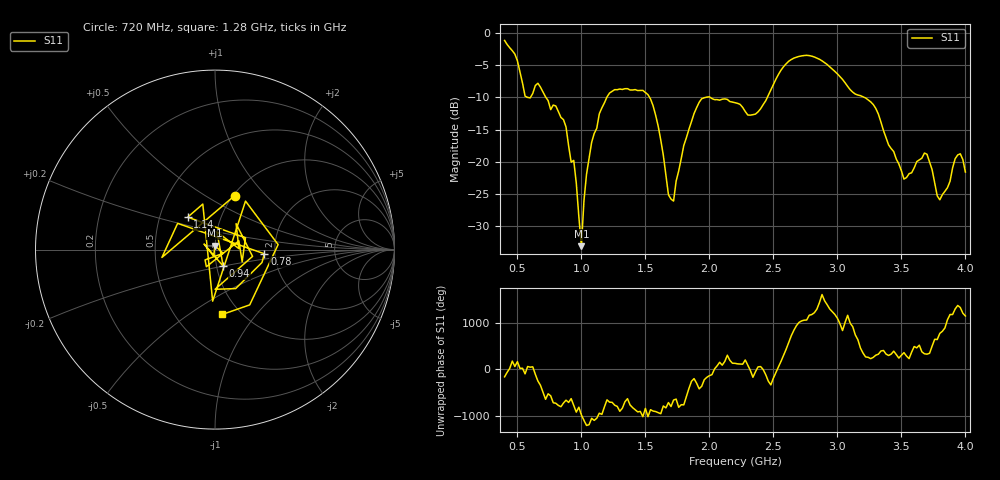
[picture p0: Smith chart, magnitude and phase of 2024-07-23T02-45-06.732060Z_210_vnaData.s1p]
!Created with skrf (http://scikit-rf.org).
# Hz S RI R 50.0
!freq ReS11 ImS11
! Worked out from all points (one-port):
!   181 points, 400 MHz to 4 GHz, reference 50 ohm
!   lowest |S11| = -33.1 dB at 1 GHz (marker M1), VSWR 1.05, Z = 49.9 + j2.2 ohm
!   |S11| at or under -10 dB: 722.9 MHz to 1.198 GHz (475.3 MHz wide, 49.5 % of centre); 1.533 GHz to 1.969 GHz (435.5 MHz wide, 24.9 % of centre); 3.211 GHz to end of sweep (the widest 3 of 5)
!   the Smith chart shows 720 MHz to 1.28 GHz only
!   S11 on the Smith chart (normalised r, x): 720 MHz: 1.02, +0.68; 780 MHz: 1.76, -0.09; 940 MHz: 1.08, -0.20; 1.14 GHz: 0.69, +0.27; 1.28 GHz: 0.83, -0.69
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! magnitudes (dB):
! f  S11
! 400 MHz  -1.1
! 500 MHz  -4.3
! 560 MHz  -9.8
! 660 MHz  -7.8
! 720 MHz  -9.9
! 780 MHz  -11.2
! 860 MHz  -13.4
! 940 MHz  -19.8
! 1 GHz  -33.1
! 1.04 GHz  -21.9
! 1.14 GHz  -12.5
! 1.28 GHz  -8.8
! 1.3 GHz  -8.7
! 1.54 GHz  -10.2
! 1.7 GHz  -25.8
! 1.76 GHz  -21.4
! 1.94 GHz  -10.2
! 2.2 GHz  -10.8
! 2.36 GHz  -12.6
! 2.66 GHz  -3.9
! 3.1 GHz  -8.8
! 3.28 GHz  -11.1
! 3.52 GHz  -22.7
! 3.56 GHz  -21.8
! 3.7 GHz  -18.8
! 3.8 GHz  -25.9
! 3.94 GHz  -18.9
! 4 GHz  -21.6
